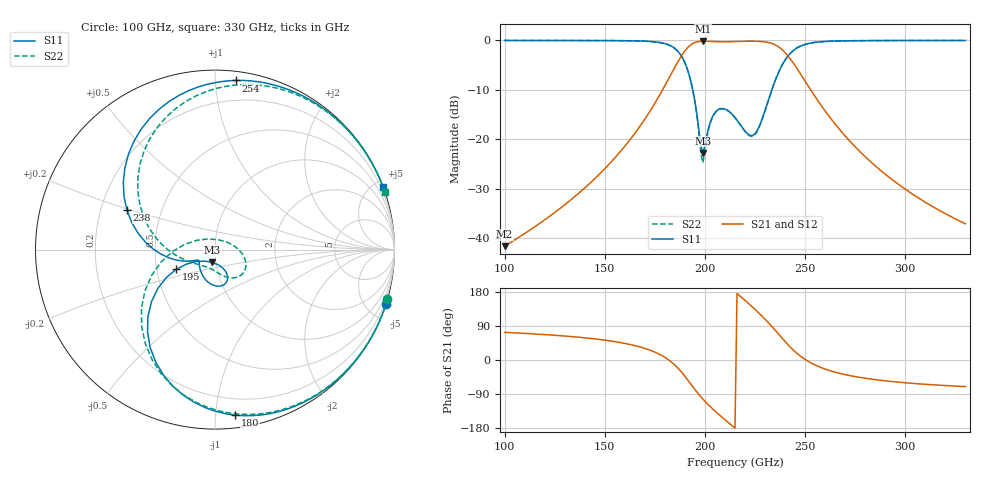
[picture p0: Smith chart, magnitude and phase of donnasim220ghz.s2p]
# GHZ S MA R 10.00000
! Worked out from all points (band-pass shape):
!   231 points, 100 GHz to 330 GHz, reference 10 ohm
!   highest |S21| = -0.15 dB at 199 GHz (marker M1); lowest = -41.6 dB at 100 GHz (marker M2)
!   |S21| within 3 dB of the highest: 188.2 GHz to 241.5 GHz (53.26 GHz wide, 24.8 % of centre)
!   lowest |S11| = -22.8 dB at 199 GHz (marker M3), VSWR 1.16, Z = 9.62 - j1.38 ohm
!   |S11| at or under -10 dB: 193.9 GHz to 233.4 GHz (39.42 GHz wide, 18.5 % of centre)
!   |S22| runs from -24.7 to 0.0 dB; largest |S21 - S12| = 3.9e-13
!   S11 on the Smith chart (normalised r, x): 100 GHz: 0.01, -6.46; 180 GHz: 0.08, -1.12; 195 GHz: 0.63, -0.15; 238 GHz: 0.31, +0.19; 254 GHz: 0.06, +1.13; 330 GHz: 0.01, +5.52
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100  0.9995 -17.6  0.008346 72.9  0.008346 72.9  0.9996 -16.1
139  0.9984 -31.8  0.03102 59.1  0.03102 59.1  0.9985 -29.4
163  0.9922 -50.5  0.1018 40.4  0.1018 40.4  0.9921 -47.6
177  0.9561 -74.6  0.2719 15.9  0.2719 15.9  0.9557 -72.2
180  0.929 -83.1  0.3491 7.1  0.3491 7.1  0.9284 -81.2
185  0.8295 -102.4  0.5375 -13.3  0.5375 -13.3  0.8284 -102.2
189  0.6553 -123.4  0.735 -36.2  0.735 -36.2  0.6532 -126.4
195  0.2426 -153.0  0.9531 -77.9  0.9531 -77.9  0.2367 -177.4
199  0.07281 -101.2  0.983 -103.4  0.983 -103.4  0.05797 73.2
202  0.1354 -63.9  0.9779 -119.9  0.9779 -119.9  0.1307 0.6
205  0.1868 -68.8  0.9704 -134.7  0.9704 -134.7  0.1848 -22.1
215  0.1662 -112.3  0.9746 -179.9  0.9746 -179.9  0.1659 -67.1
223  0.1094 -145.3  0.982 143.2  0.982 143.2  0.1073 -108.9
229  0.1715 -157.9  0.9716 113.1  0.9716 113.1  0.1694 -158.7
234  0.3444 179.5  0.9227 84.9  0.9227 84.9  0.3437 167.6
238  0.5379 155.8  0.8245 60.6  0.8245 60.6  0.5379 143.0
242  0.7178 132.2  0.6758 37.2  0.6758 37.2  0.7182 120.2
246  0.8415 111.8  0.5186 17.3  0.5186 17.3  0.8421 101.0
254  0.9497 83.0  0.2902 -10.6  0.2902 -10.6  0.9502 74.5
269  0.9902 55.0  0.1142 -37.5  0.1142 -37.5  0.9905 49.1
292  0.9976 35.4  0.04133 -56.1  0.04133 -56.1  0.9978 31.8
330  0.9991 20.5  0.01404 -70.2  0.01404 -70.2  0.9992 18.7
